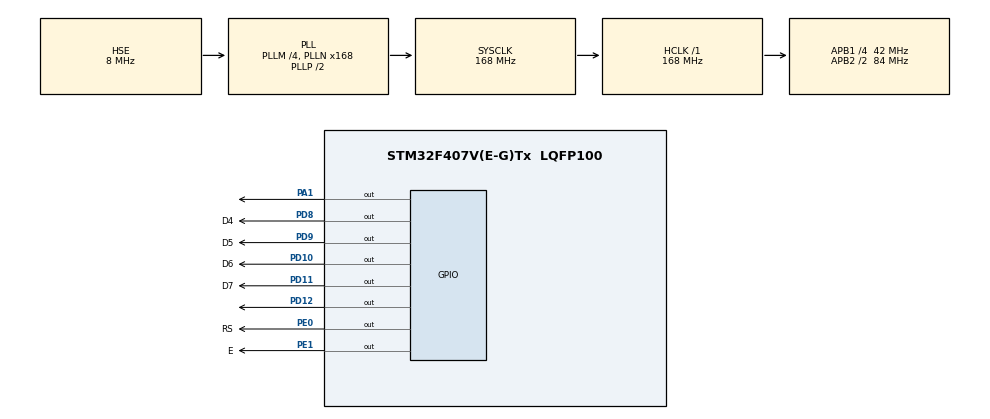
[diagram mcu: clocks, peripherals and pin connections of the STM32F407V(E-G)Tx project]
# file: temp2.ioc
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Mcu.Family=STM32F4
Mcu.Name=STM32F407V(E-G)Tx
Mcu.Package=LQFP100
NVIC.PriorityGroup=NVIC_PRIORITYGROUP_4
PA1.Signal=GPIO_Output
PD10.GPIO_Label=D6
PD10.Signal=GPIO_Output
PD11.GPIO_Label=D7
PD11.Signal=GPIO_Output
PD12.Signal=GPIO_Output
PD8.GPIO_Label=D4
PD8.Signal=GPIO_Output
PD9.GPIO_Label=D5
PD9.Signal=GPIO_Output
PE0.GPIO_Label=RS
PE0.Signal=GPIO_Output
PE1.GPIO_Label=E
PE1.Signal=GPIO_Output
PH0-OSC_IN.Mode=HSE-External-Oscillator
PH0-OSC_IN.Signal=RCC_OSC_IN
PH1-OSC_OUT.Mode=HSE-External-Oscillator
PH1-OSC_OUT.Signal=RCC_OSC_OUT
ProjectManager.HeapSize=0x200
ProjectManager.StackSize=0x400
ProjectManager.TargetToolchain=STM32CubeIDE
RCC.48MHZClocksFreq_Value=84000000
RCC.AHBFreq_Value=168000000
RCC.APB1CLKDivider=RCC_HCLK_DIV4
RCC.APB1Freq_Value=42000000
RCC.APB1TimFreq_Value=84000000
RCC.APB2CLKDivider=RCC_HCLK_DIV2
RCC.APB2Freq_Value=84000000
RCC.APB2TimFreq_Value=168000000
RCC.CortexFreq_Value=168000000
RCC.HCLKFreq_Value=168000000
RCC.HSE_VALUE=8000000
RCC.HSI_VALUE=16000000
RCC.LSE_VALUE=32768
RCC.PLLM=4
RCC.PLLN=168
RCC.PLLSourceVirtual=RCC_PLLSOURCE_HSE
RCC.SYSCLKFreq_VALUE=168000000
RCC.SYSCLKSource=RCC_SYSCLKSOURCE_PLLCLK
RCC.VCOOutputFreq_Value=336000000
TIM3.Period=0xffff-1
TIM3.Prescaler=84-1
VP_TIM3_VS_ClockSourceINT.Mode=Internal
board=custom

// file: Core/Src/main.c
/* USER CODE BEGIN Header */
/**
  ******************************************************************************
  * @file           : main.c
  * @brief          : Main program body
  ******************************************************************************
  * @attention
  *
  * <h2><center>&copy; Copyright (c) 2020 STMicroelectronics.
  * All rights reserved.</center></h2>
  *
  * This software component is licensed by ST under BSD 3-Clause license,
  * the "License"; You may not use this file except in compliance with the
  * License. You may obtain a copy of the License at:
  *                        opensource.org/licenses/BSD-3-Clause
  *
  ******************************************************************************
  */
/* USER CODE END Header */

#include "main.h"

/* USER CODE BEGIN Includes */
#include "stdio.h"
#include "STM_MY_LCD16X2.h"
/* USER CODE END Includes */

TIM_HandleTypeDef htim3;

/* USER CODE BEGIN PV */
uint8_t Presence;
/* USER CODE END PV */

void SystemClock_Config(void);
static void MX_GPIO_Init(void);
static void MX_TIM3_Init(void);
/* USER CODE BEGIN PFP */
void delay(uint16_t time){
	__HAL_TIM_SET_COUNTER(&htim3, 0);
	while((__HAL_TIM_GET_COUNTER(&htim3))<time);
}

uint8_t Rh_byte1, Rh_byte2, Temp_byte1, Temp_byte2;
uint16_t SUM, RH, TEMP;

float Temperature = 0;

void Set_Pin_Output(GPIO_TypeDef *GPIOx, uint16_t GPIO_Pin){
	GPIO_InitTypeDef GPIO_InitStruct = {0};
	GPIO_InitStruct.Pin = GPIO_Pin;
	GPIO_InitStruct.Mode = GPIO_MODE_OUTPUT_PP;
	GPIO_InitStruct.Speed = GPIO_SPEED_FREQ_LOW;
	HAL_GPIO_Init(GPIOx, &GPIO_InitStruct);
}
void Set_Pin_Input(GPIO_TypeDef *GPIOx, uint16_t GPIO_Pin){
	GPIO_InitTypeDef GPIO_InitStruct = {0};
	GPIO_InitStruct.Pin = GPIO_Pin;
	GPIO_InitStruct.Mode = GPIO_MODE_INPUT;
	GPIO_InitStruct.Pull = GPIO_NOPULL;
	HAL_GPIO_Init(GPIOx, &GPIO_InitStruct);
}

/* USER CODE END PFP */

/* USER CODE BEGIN 0 */
#define DS18B20_PORT GPIOA
#define DS18B20_PIN GPIO_PIN_1

uint8_t DS18B20_Start(void){
	uint8_t Response = 0;
	Set_Pin_Output(DS18B20_PORT, DS18B20_PIN);
	HAL_GPIO_WritePin(DS18B20_PORT, DS18B20_PIN, 0);
	delay(480);

	Set_Pin_Input(DS18B20_PORT, DS18B20_PIN);
	delay(80);

	if(!(HAL_GPIO_ReadPin(DS18B20_PORT, DS18B20_PIN))) Response = 1;
	else Response = -1;

	delay(400);

	return Response;
}

void DS18B20_Write(uint8_t data){
	Set_Pin_Output(DS18B20_PORT, DS18B20_PIN);

	for(int i=0; i<8; i++){
		if((data & (1<<i))!=0){
			Set_Pin_Output(DS18B20_PORT, DS18B20_PIN);
			HAL_GPIO_WritePin(DS18B20_PORT, DS18B20_PIN, 0);
			delay(1);

			Set_Pin_Input(DS18B20_PORT, DS18B20_PIN);
			delay(60);
		}
		else{
			Set_Pin_Output(DS18B20_PORT, DS18B20_PIN);
			HAL_GPIO_WritePin(DS18B20_PORT, DS18B20_PIN, 0);
			delay(60);

			Set_Pin_Input(DS18B20_PORT, DS18B20_PIN);
		}
	}
}

uint8_t DS18B20_Read(void){
	uint8_t value = 0;
	Set_Pin_Input(DS18B20_PORT, DS18B20_PIN);

	for(int i=0; i<8; i++){
		Set_Pin_Output(DS18B20_PORT, DS18B20_PIN);

		HAL_GPIO_WritePin(DS18B20_PORT, DS18B20_PIN, 0);
		delay(2);

		Set_Pin_Input(DS18B20_PORT, DS18B20_PIN);
		if(HAL_GPIO_ReadPin(DS18B20_PORT, DS18B20_PIN)){
			value |= 1 << i;
		}
		delay(60);
	}
	return value;
}
/* USER CODE END 0 */

int main(void)
{
  /* USER CODE BEGIN 1 */

	  int tmp, tmp2;
	  float tmp3;
  /* USER CODE END 1 */

  /* MCU Configuration--------------------------------------------------------*/

  /* Reset of all peripherals, Initializes the Flash interface and the Systick. */
  HAL_Init();

  /* Configure the system clock */
  SystemClock_Config();

  /* Initialize all configured peripherals */
  MX_GPIO_Init();
  MX_TIM3_Init();
  /* USER CODE BEGIN 2 */
  HAL_TIM_Base_Start(&htim3);

  LCD1602_Begin4BIT(RS_GPIO_Port, RS_Pin, E_Pin, D4_GPIO_Port, D4_Pin, D5_Pin, D6_Pin, D7_Pin);

  char linia[16];

  /* USER CODE END 2 */

  /* Infinite loop */
  /* USER CODE BEGIN WHILE */
  while (1)
  {
	  Presence = DS18B20_Start();
	  HAL_Delay(1);
	  DS18B20_Write(0xCC);
	  DS18B20_Write(0x44);
	  HAL_Delay(800);

	  Presence = DS18B20_Start();
	  HAL_Delay(1);
	  DS18B20_Write(0xCC);
	  DS18B20_Write(0xBE);

	  Temp_byte1 = DS18B20_Read();
	  Temp_byte2 = DS18B20_Read();
	  TEMP = (Temp_byte2<<8)|Temp_byte1;
	  Temperature = (float)TEMP/16;

	  tmp = (int)Temperature;
	  tmp3 = Temperature -tmp;
	  tmp2 = trunc(tmp3*10);
	  sprintf(linia, "%d.%d",tmp,tmp2);

	  LCD1602_clear();
	  LCD1602_setCursor(1,1);
	  LCD1602_print(linia);

	  if(Temperature > 20 && Temperature < 30) HAL_GPIO_WritePin(GPIOD, GPIO_PIN_12, 1);
	  //HAL_Delay(3000);

    /* USER CODE END WHILE */

  }
}

void SystemClock_Config(void)
{
  RCC_OscInitTypeDef RCC_OscInitStruct = {0};
  RCC_ClkInitTypeDef RCC_ClkInitStruct = {0};

  /** Configure the main internal regulator output voltage
  */
  __HAL_RCC_PWR_CLK_ENABLE();
  __HAL_PWR_VOLTAGESCALING_CONFIG(PWR_REGULATOR_VOLTAGE_SCALE1);
  /** Initializes the CPU, AHB and APB busses clocks
  */
  RCC_OscInitStruct.OscillatorType = RCC_OSCILLATORTYPE_HSE;
  RCC_OscInitStruct.HSEState = RCC_HSE_ON;
  RCC_OscInitStruct.PLL.PLLState = RCC_PLL_ON;
  RCC_OscInitStruct.PLL.PLLSource = RCC_PLLSOURCE_HSE;
  RCC_OscInitStruct.PLL.PLLM = 4;
  RCC_OscInitStruct.PLL.PLLN = 168;
  RCC_OscInitStruct.PLL.PLLP = RCC_PLLP_DIV2;
  RCC_OscInitStruct.PLL.PLLQ = 4;
  if (HAL_RCC_OscConfig(&RCC_OscInitStruct) != HAL_OK)
  {
    Error_Handler();
  }
  /** Initializes the CPU, AHB and APB busses clocks
  */
  RCC_ClkInitStruct.ClockType = RCC_CLOCKTYPE_HCLK|RCC_CLOCKTYPE_SYSCLK
                              |RCC_CLOCKTYPE_PCLK1|RCC_CLOCKTYPE_PCLK2;
  RCC_ClkInitStruct.SYSCLKSource = RCC_SYSCLKSOURCE_PLLCLK;
  RCC_ClkInitStruct.AHBCLKDivider = RCC_SYSCLK_DIV1;
  RCC_ClkInitStruct.APB1CLKDivider = RCC_HCLK_DIV4;
  RCC_ClkInitStruct.APB2CLKDivider = RCC_HCLK_DIV2;

  if (HAL_RCC_ClockConfig(&RCC_ClkInitStruct, FLASH_LATENCY_5) != HAL_OK)
  {
    Error_Handler();
  }
}

static void MX_TIM3_Init(void)
{

  TIM_ClockConfigTypeDef sClockSourceConfig = {0};
  TIM_MasterConfigTypeDef sMasterConfig = {0};

  htim3.Instance = TIM3;
  htim3.Init.Prescaler = 84-1;
  htim3.Init.CounterMode = TIM_COUNTERMODE_UP;
  htim3.Init.Period = 0xffff-1;
  htim3.Init.ClockDivision = TIM_CLOCKDIVISION_DIV1;
  htim3.Init.AutoReloadPreload = TIM_AUTORELOAD_PRELOAD_DISABLE;
  if (HAL_TIM_Base_Init(&htim3) != HAL_OK)
  {
    Error_Handler();
  }
  sClockSourceConfig.ClockSource = TIM_CLOCKSOURCE_INTERNAL;
  if (HAL_TIM_ConfigClockSource(&htim3, &sClockSourceConfig) != HAL_OK)
  {
    Error_Handler();
  }
  sMasterConfig.MasterOutputTrigger = TIM_TRGO_RESET;
  sMasterConfig.MasterSlaveMode = TIM_MASTERSLAVEMODE_DISABLE;
  if (HAL_TIMEx_MasterConfigSynchronization(&htim3, &sMasterConfig) != HAL_OK)
  {
    Error_Handler();
  }

}

static void MX_GPIO_Init(void)
{
  GPIO_InitTypeDef GPIO_InitStruct = {0};

  /* GPIO Ports Clock Enable */
  __HAL_RCC_GPIOH_CLK_ENABLE();
  __HAL_RCC_GPIOA_CLK_ENABLE();
  __HAL_RCC_GPIOD_CLK_ENABLE();
  __HAL_RCC_GPIOE_CLK_ENABLE();

  /*Configure GPIO pin Output Level */
  HAL_GPIO_WritePin(GPIOA, GPIO_PIN_1, GPIO_PIN_RESET);

  /*Configure GPIO pin Output Level */
  HAL_GPIO_WritePin(GPIOD, D4_Pin|D5_Pin|D6_Pin|D7_Pin
                          |GPIO_PIN_12, GPIO_PIN_RESET);

  /*Configure GPIO pin Output Level */
  HAL_GPIO_WritePin(GPIOE, RS_Pin|E_Pin, GPIO_PIN_RESET);

  /*Configure GPIO pin : PA1 */
  GPIO_InitStruct.Pin = GPIO_PIN_1;
  GPIO_InitStruct.Mode = GPIO_MODE_OUTPUT_PP;
  GPIO_InitStruct.Pull = GPIO_NOPULL;
  GPIO_InitStruct.Speed = GPIO_SPEED_FREQ_LOW;
  HAL_GPIO_Init(GPIOA, &GPIO_InitStruct);

  /*Configure GPIO pins : D4_Pin D5_Pin D6_Pin D7_Pin
                           PD12 */
  GPIO_InitStruct.Pin = D4_Pin|D5_Pin|D6_Pin|D7_Pin
                          |GPIO_PIN_12;
  GPIO_InitStruct.Mode = GPIO_MODE_OUTPUT_PP;
  GPIO_InitStruct.Pull = GPIO_NOPULL;
  GPIO_InitStruct.Speed = GPIO_SPEED_FREQ_LOW;
  HAL_GPIO_Init(GPIOD, &GPIO_InitStruct);

  /*Configure GPIO pins : RS_Pin E_Pin */
  GPIO_InitStruct.Pin = RS_Pin|E_Pin;
  GPIO_InitStruct.Mode = GPIO_MODE_OUTPUT_PP;
  GPIO_InitStruct.Pull = GPIO_NOPULL;
  GPIO_InitStruct.Speed = GPIO_SPEED_FREQ_LOW;
  HAL_GPIO_Init(GPIOE, &GPIO_InitStruct);

}

void Error_Handler(void)
{
}

/************************ (C) COPYRIGHT STMicroelectronics *****END OF FILE****/
